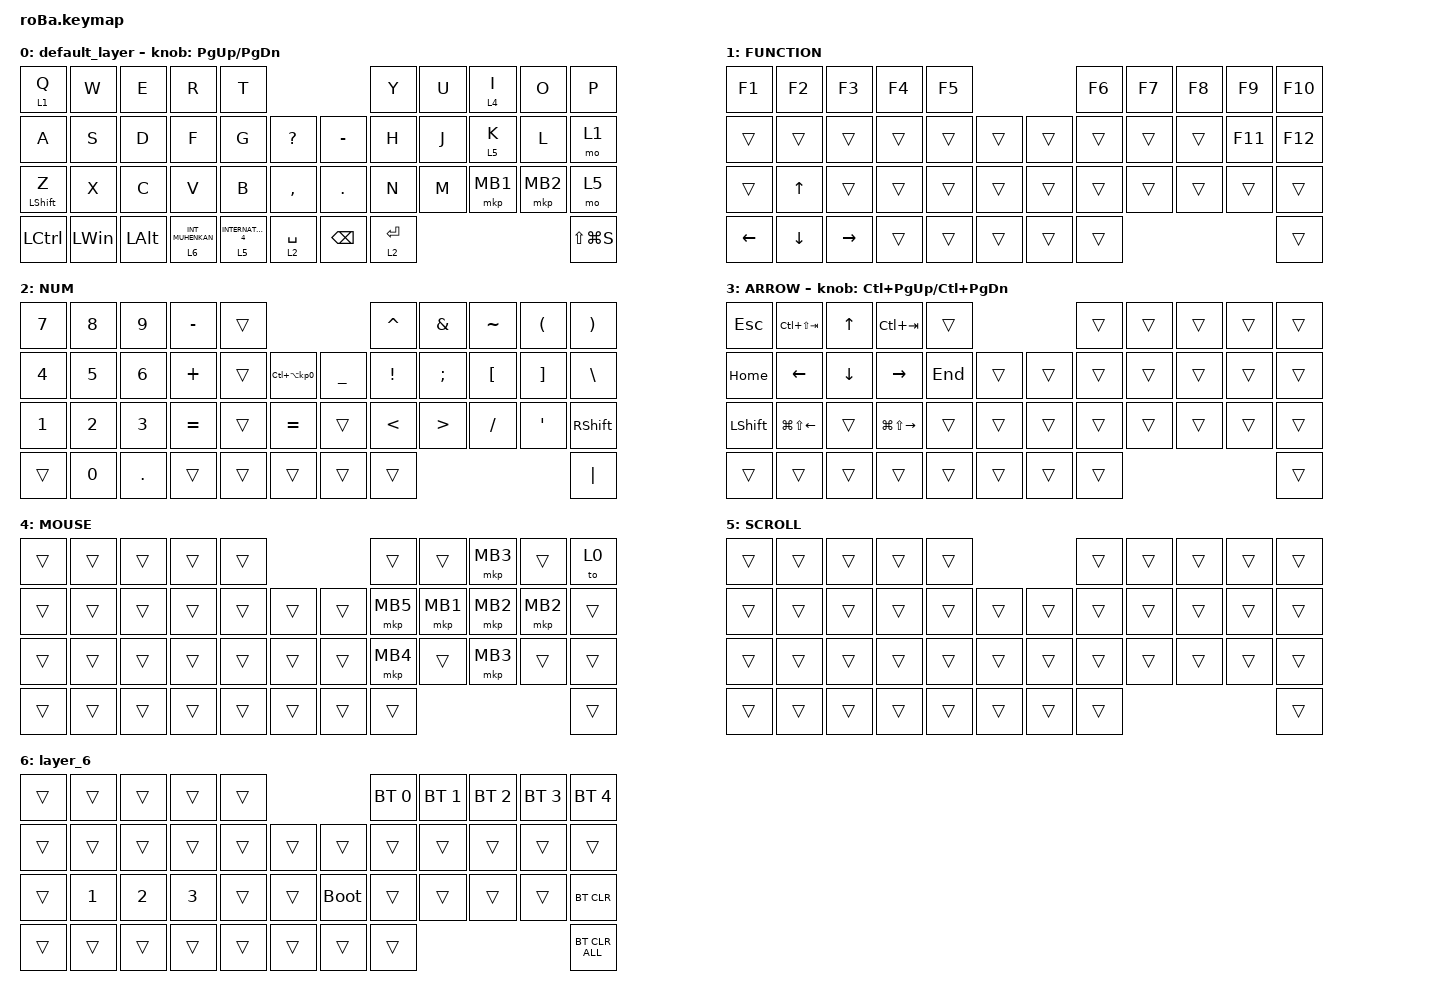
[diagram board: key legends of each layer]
#include <behaviors.dtsi>
#include <dt-bindings/zmk/bt.h>
#include <dt-bindings/zmk/keys.h>
#include <dt-bindings/zmk/pointing.h>

&mt {
    flavor = "balanced";
    quick-tap-ms = <0>;
};

&trackball {
    automouse-layer = <4>;
    scroll-layers = <5>;

    // arrows {
    //     layers = <3>;
    //     bindings =
    //         <&kp RIGHT_ARROW>,
    //         <&kp LEFT_ARROW>,
    //         <&kp UP_ARROW>,
    //         <&kp DOWN_ARROW>;
    //     tick = <10>;
    //     wait-ms = <5>;
    //     tap-ms = <5>;
    // };
};

/ {
    combos {
        compatible = "zmk,combos";

        tab {
            bindings = <&kp TAB>;
            key-positions = <11 12>;
        };

        shift_tab {
            bindings = <&kp LS(TAB)>;
            key-positions = <12 13>;
        };

        muhennkann {
            bindings = <&to_layer_0 INT_MUHENKAN>;
            key-positions = <11 10>;
        };

        double_quotation {
            bindings = <&kp DOUBLE_QUOTES>;
            key-positions = <20 21>;
        };

        eq {
            bindings = <&kp EQUAL>;
            key-positions = <24 25>;
        };
    };

    macros {
        to_layer_0: to_layer_0 {
            compatible = "zmk,behavior-macro-one-param";
            #binding-cells = <1>;
            bindings = <&to 0 &macro_param_1to1 &kp MACRO_PLACEHOLDER>;
            label = "TO_LAYER_0";
        };
    };

    behaviors {
        lt_to_layer_0: lt_to_layer_0 {
            compatible = "zmk,behavior-hold-tap";
            label = "LAYER_TAP_TO_0";
            bindings = <&mo>, <&to_layer_0>;

            #binding-cells = <2>;
            tapping-term-ms = <200>;
        };
    };

    keymap {
        compatible = "zmk,keymap";

        default_layer {
            bindings = <
&lt 1 Q           &kp W         &kp E         &kp R                          &kp T                                                   &kp Y        &kp U  &lt 4 I   &kp O     &kp P
&kp A             &kp S         &kp D         &kp F                          &kp G                  &kp QUESTION      &kp MINUS      &kp H        &kp J  &lt 5 K   &kp L     &mo 1
&mt LEFT_SHIFT Z  &kp X         &kp C         &kp V                          &kp B                  &kp COMMA         &kp PERIOD     &kp N        &kp M  &mkp MB1  &mkp MB2  &mo 5
&kp LCTRL         &kp LEFT_WIN  &kp LEFT_ALT  &lt_to_layer_0 6 INT_MUHENKAN  &lt 5 INTERNATIONAL_4  &lt 2 SPACE       &kp BACKSPACE  &lt 2 ENTER                             &kp LS(LG(S))
            >;

            sensor-bindings = <&inc_dec_kp PG_UP PAGE_DOWN>;
        };

        FUNCTION {
            bindings = <
&kp F1    &kp F2          &kp F3     &kp F4  &kp F5                      &kp F6  &kp F7  &kp F8  &kp F9   &kp F10
&trans    &trans          &trans     &trans  &trans  &trans      &trans  &trans  &trans  &trans  &kp F11  &kp F12
&trans    &kp UP_ARROW    &trans     &trans  &trans  &trans      &trans  &trans  &trans  &trans  &trans   &trans
&kp LEFT  &kp DOWN_ARROW  &kp RIGHT  &trans  &trans  &trans      &trans  &trans                           &trans
            >;
        };

        NUM {
            bindings = <
&kp NUMBER_7  &kp N8  &kp N9      &kp MINUS  &trans                                               &kp CARET        &kp AMPERSAND     &kp TILDE         &kp LEFT_PARENTHESIS  &kp RIGHT_PARENTHESIS
&kp N4        &kp N5  &kp N6      &kp PLUS   &trans  &kp LC(LA(KP_NUMBER_0))      &kp UNDERSCORE  &kp EXCLAMATION  &kp SEMICOLON     &kp LEFT_BRACKET  &kp RIGHT_BRACKET     &kp BACKSLASH
&kp N1        &kp N2  &kp N3      &kp EQUAL  &trans  &kp EQUAL                    &trans          &kp LESS_THAN    &kp GREATER_THAN  &kp SLASH         &kp SQT               &kp RIGHT_SHIFT
&trans        &kp N0  &kp PERIOD  &trans     &trans  &trans                       &trans          &trans                                                                     &kp PIPE
            >;
        };

        ARROW {
            bindings = <
&kp ESCAPE      &kp LC(LS(TAB))         &kp UP_ARROW    &kp LC(TAB)              &trans                       &trans  &trans  &trans  &trans  &trans
&kp HOME        &kp LEFT_ARROW          &kp DOWN_ARROW  &kp RIGHT_ARROW          &kp END  &trans      &trans  &trans  &trans  &trans  &trans  &trans
&kp LEFT_SHIFT  &kp LG(LS(LEFT_ARROW))  &trans          &kp LG(LS(RIGHT_ARROW))  &trans   &trans      &trans  &trans  &trans  &trans  &trans  &trans
&trans          &trans                  &trans          &trans                   &trans   &trans      &trans  &trans                          &trans
            >;

            sensor-bindings = <&inc_dec_kp LC(PAGE_UP) LC(PAGE_DOWN)>;
        };

        MOUSE {
            bindings = <
&trans  &trans  &trans  &trans  &trans                      &trans    &trans    &mkp MB3  &trans    &to 0
&trans  &trans  &trans  &trans  &trans  &trans      &trans  &mkp MB5  &mkp MB1  &mkp MB2  &mkp MB2  &trans
&trans  &trans  &trans  &trans  &trans  &trans      &trans  &mkp MB4  &trans    &mkp MB3  &trans    &trans
&trans  &trans  &trans  &trans  &trans  &trans      &trans  &trans                                  &trans
            >;
        };

        SCROLL {
            bindings = <
&trans  &trans  &trans  &trans  &trans                      &trans  &trans  &trans  &trans  &trans
&trans  &trans  &trans  &trans  &trans  &trans      &trans  &trans  &trans  &trans  &trans  &trans
&trans  &trans  &trans  &trans  &trans  &trans      &trans  &trans  &trans  &trans  &trans  &trans
&trans  &trans  &trans  &trans  &trans  &trans      &trans  &trans                          &trans
            >;
        };

        layer_6 {
            bindings = <
&trans  &trans        &trans        &trans        &trans                           &bt BT_SEL 0  &bt BT_SEL 1  &bt BT_SEL 2  &bt BT_SEL 3  &bt BT_SEL 4
&trans  &trans        &trans        &trans        &trans  &trans      &trans       &trans        &trans        &trans        &trans        &trans
&trans  &kp NUMBER_1  &kp NUMBER_2  &kp NUMBER_3  &trans  &trans      &bootloader  &trans        &trans        &trans        &trans        &bt BT_CLR
&trans  &trans        &trans        &trans        &trans  &trans      &trans       &trans                                                  &bt BT_CLR_ALL
            >;
        };
    };
};
